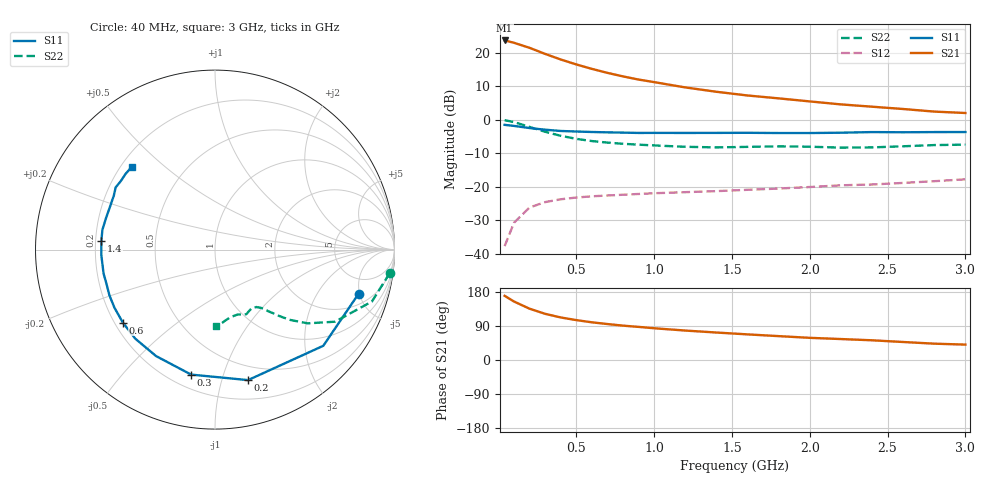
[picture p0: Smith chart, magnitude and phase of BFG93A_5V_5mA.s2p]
! Filename:  BFG93AA.S2P  Version:  2.0
! Philips part #: BFG 93A  Date: Jun 1990
! Bias condition: Vce=5V, Ic=5mA
! IN LINE PINNING: same data as with cross emitter pinning.
#  MHz  S  MA  R  50
! Freq  S11  S21  S12  S22  !GUM [dB]
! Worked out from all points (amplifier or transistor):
!   21 points, 40 MHz to 3 GHz, reference 50 ohm
!   highest |S21| = 23.6 dB at 40 MHz (marker M1)
!   |S21| within 3 dB of that: start of sweep to 244.5 MHz
!   unconditionally stable (mu >= 1): 1.397 GHz to end of sweep
!   at 300 MHz: K = 0.26, MSG = 22.1 dB, |S12| = -24.6 dB
!   at 1 GHz: K = 0.75, MSG = 16.6 dB, |S12| = -21.9 dB
!   at 3 GHz: K = 1.34, MAG = 6.4 dB, |S12| = -17.8 dB
!   lowest NFmin = 1.20 dB at 500 MHz
!   S11 on the Smith chart (normalised r, x): 40 MHz: 2.98, -4.89; 200 MHz: 0.37, -1.22; 300 MHz: 0.28, -0.79; 600 MHz: 0.23, -0.33; 1.4 GHz: 0.22, +0.03; 3 GHz: 0.24, +0.39
40  0.837 -17.1  15.17 169.4  0.013 81.8  0.982 -7.7
100  0.807 -41.6  14.01 154.4  0.029 68.7  0.921 -18.3
200  0.75 -75.8  11.78 135.4  0.049 54.1  0.78 -31.0
300  0.709 -100.8  9.568 121.9  0.059 44.9  0.66 -38.5
400  0.678 -119.0  7.897 112.3  0.065 39.4  0.575 -43.0
500  0.666 -131.8  6.664 105.3  0.069 36.5  0.518 -45.8
600  0.655 -141.6  5.721 99.5  0.072 34.8  0.48 -47.6
700  0.647 -150.0  4.99 94.9  0.074 34.2  0.455 -49.1
800  0.641 -156.6  4.418 90.7  0.076 34.1  0.437 -50.0
900  0.634 -162.5  3.964 87.4  0.078 34.4  0.424 -50.8
1000  0.635 -167.8  3.63 83.8  0.08 34.6  0.413 -51.8
1200  0.634 -177.0  3.026 77.7  0.083 36.7  0.394 -54.3
1400  0.635 175.8  2.606 72.5  0.086 38.6  0.386 -58.3
1600  0.637 170.0  2.294 67.6  0.09 40.3  0.393 -61.7
1800  0.632 163.7  2.078 63.0  0.094 42.9  0.4 -64.1
2000  0.632 157.5  1.871 58.5  0.099 45.4  0.395 -66.6
2200  0.639 151.9  1.689 55.3  0.105 47.2  0.383 -70.8
2400  0.653 147.9  1.561 52.0  0.108 49.4  0.386 -77.0
2600  0.649 144.0  1.442 47.5  0.114 51.6  0.401 -82.3
2800  0.653 139.6  1.319 43.1  0.121 53.4  0.418 -86.0
3000  0.654 135.0  1.257 40.6  0.129 52.1  0.424 -89.0
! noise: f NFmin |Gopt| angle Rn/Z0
500  1.2  0.29  53.4  0.204
1000  1.9  0.307  109.7  0.228
2000  3  0.484  -174.6  0.138
